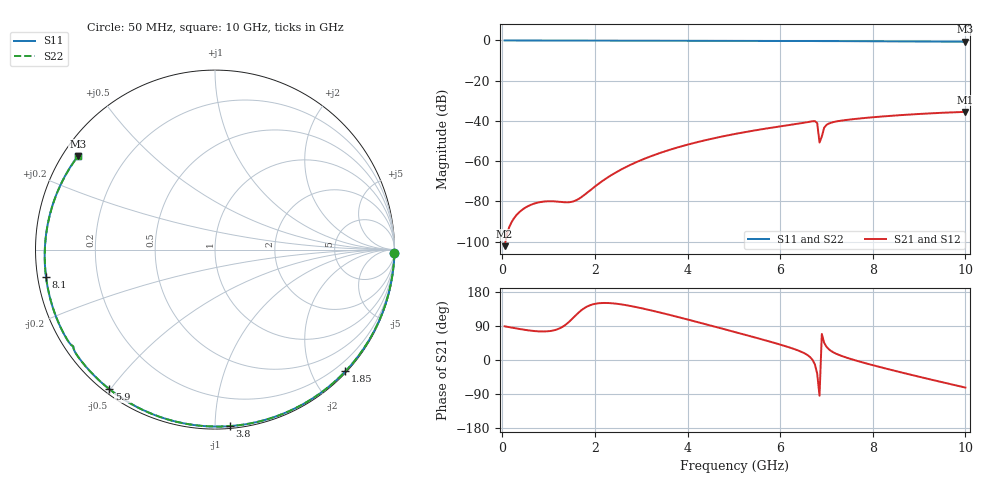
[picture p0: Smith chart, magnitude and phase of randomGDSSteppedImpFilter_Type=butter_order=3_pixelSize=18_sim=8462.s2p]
! freq	dB(S11)	phase(S11)	dB(S12)	phase(S12)
!  dB(S21)	phase(S21)	dB(S22)	phase(S22)
!S-par simulation data
#  GHz  S  DB  R 50
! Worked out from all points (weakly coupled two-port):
!   200 points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, 50 MHz to 10 GHz, reference 50 ohm
!   highest |S21| = -35.48 dB at 10 GHz (marker M1); lowest = -102.2 dB at 50 MHz (marker M2)
!   lowest |S11| = -0.7 dB at 10 GHz (marker M3), VSWR 25.69, Z = 2.13 + j15.4 ohm
!   |S11| at or under -10 dB: nowhere
!   |S22| runs from -0.7 to 0.0 dB; largest |S21 - S12| = 0
!   S11 on the Smith chart (normalised r, x): 50 MHz: 0, -96; 1.85 GHz: 0.02, -2.54; 3.8 GHz: 0.01, -1.09; 5.9 GHz: 0.02, -0.50; 8.1 GHz: 0.02, -0.08; 10 GHz: 0.04, +0.31
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0.05  -0.00 -1.2  -102.22 88.9  -102.22 88.9  -0.00 -1.2
0.75  -0.02 -17.7  -80.65 75.8  -80.65 75.8  -0.02 -17.7
1.5  -0.04 -35.1  -80.18 107.5  -80.18 107.5  -0.04 -35.1
1.75  -0.05 -40.8  -77.14 135.2  -77.14 135.2  -0.05 -40.8
1.85  -0.05 -43.0  -75.33 142.2  -75.33 142.2  -0.05 -43.0
2.2  -0.07 -50.9  -69.23 150.6  -69.23 150.6  -0.07 -50.9
2.55  -0.08 -58.6  -64.33 147.1  -64.33 147.1  -0.08 -58.6
3.4  -0.10 -76.9  -55.95 125.5  -55.95 125.5  -0.10 -76.9
3.8  -0.11 -85.2  -53.05 113.2  -53.05 113.2  -0.11 -85.2
5.05  -0.17 -110.5  -46.35 72.9  -46.35 72.9  -0.17 -110.5
5.9  -0.22 -127.2  -43.04 44.3  -43.04 44.3  -0.22 -127.2
6.7  -0.29 -142.9  -40.15 0.2  -40.15 0.2  -0.29 -143.0
6.8  -0.34 -145.0  -41.05 -36.2  -41.05 -36.2  -0.34 -145.1
6.85  -0.39 -145.6  -50.74 -94.4  -50.74 -94.4  -0.39 -145.7
6.9  -0.35 -146.3  -47.73 68.7  -47.73 68.7  -0.35 -146.4
6.95  -0.32 -147.4  -43.37 45.7  -43.37 45.7  -0.32 -147.4
7.05  -0.31 -149.4  -41.30 28.5  -41.30 28.5  -0.32 -149.5
7.35  -0.33 -155.5  -39.74 9.7  -39.74 9.7  -0.34 -155.5
8.1  -0.41 -170.8  -37.97 -16.9  -37.97 -16.9  -0.41 -170.8
8.35  -0.44 -176.0  -37.52 -24.7  -37.52 -24.7  -0.44 -176.1
9.2  -0.55 165.3  -36.28 -50.0  -36.28 -50.0  -0.55 165.1
10  -0.68 145.8  -35.48 -72.8  -35.48 -72.8  -0.69 145.6
